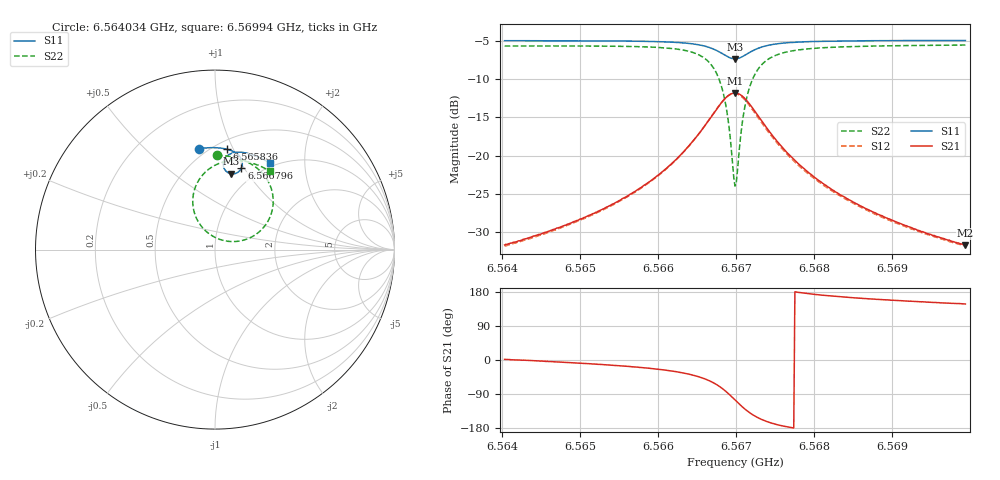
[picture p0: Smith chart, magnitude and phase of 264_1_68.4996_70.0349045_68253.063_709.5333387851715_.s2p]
#  HZ  S  RI  R  50.00
! Rohde & Schwarz Vector Network Analyzer
! Rohde-Schwarz,ZNB20-2Port,1311601062101988,3.16
! Created: UTC 3/20/2024, 5:00:22 PM
! freq[Hz]  re:S11  im:S11  re:S21  im:S21  re:S12  im:S12  re:S22  im:S22
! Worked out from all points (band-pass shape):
!   401 points, 6.564034 GHz to 6.56994 GHz, reference 50 ohm
!   highest |S21| = -11.77 dB at 6.566987 GHz (marker M1); lowest = -31.8 dB at 6.56994 GHz (marker M2)
!   |S21| within 3 dB of the highest: 6.566692 GHz to 6.567282 GHz (590.8 kHz wide, 0.009 % of centre)
!   lowest |S11| = -7.3 dB at 6.566987 GHz (marker M3), VSWR 2.52, Z = 40.2 + j41.8 ohm
!   |S11| at or under -10 dB: nowhere
!   |S22| runs from -24.0 to -5.5 dB; largest |S21 - S12| = 0.012
!   S11 on the Smith chart (normalised r, x): 6.564034 GHz: 0.45, +0.75; 6.565836 GHz: 0.57, +0.94; 6.566796 GHz: 0.83, +0.97; 6.56994 GHz: 0.94, +1.35
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6.5640345e9  -0.0874 0.5623  0.0258 0.000798  0.0253 0.000353  0.011 0.5247
6.5650237e9  -0.00773 0.568  0.038 -0.00583  0.0375 -0.00638  0.1008 0.5151
6.5658358e9  0.065 0.5597  0.0601 -0.0228  0.0592 -0.0235  0.1965 0.4796
6.566013e9  0.0827 0.5545  0.0683 -0.0314  0.0671 -0.0321  0.2234 0.4623
6.566323e9  0.1166 0.5381  0.0869 -0.0591  0.0854 -0.0601  0.2789 0.4075
6.5665445e9  0.1414 0.5128  0.1002 -0.1026  0.0981 -0.1043  0.3179 0.3234
6.5666922e9  0.1519 0.4827  0.0967 -0.1551  0.0929 -0.1578  0.3195 0.223
6.5667955e9  0.1472 0.4539  0.0711 -0.2046  0.0646 -0.2072  0.2757 0.1299
6.5668841e9  0.1275 0.4306  0.0203 -0.2428  0.0109 -0.2433  0.184 0.0609
6.5669136e9  0.1172 0.4253  -0.00313 -0.2502  -0.0132 -0.2494  0.1419 0.0485
6.5669579e9  0.0997 0.422  -0.0418 -0.2532  -0.0522 -0.2497  0.0734 0.0461
6.5669875e9  0.0877 0.4232  -0.0679 -0.2488  -0.0781 -0.2435  0.0276 0.0565
6.567017e9  0.0759 0.427  -0.0928 -0.2391  -0.1021 -0.2323  -0.0146 0.0761
6.5670761e9  0.0575 0.4417  -0.1331 -0.2082  -0.1396 -0.1989  -0.0801 0.1355
6.5671204e9  0.0494 0.4561  -0.1526 -0.1789  -0.1566 -0.169  -0.1093 0.1886
6.5671794e9  0.0458 0.4758  -0.1649 -0.14  -0.1661 -0.1304  -0.1237 0.2581
6.567268e9  0.0514 0.5007  -0.1634 -0.091  -0.1622 -0.0834  -0.1114 0.3424
6.5675338e9  0.091 0.5358  -0.1213 -0.0192  -0.1186 -0.016  -0.0158 0.4608
6.5679767e9  0.1475 0.5422  -0.0736 0.00787  -0.0718 0.00902  0.0979 0.4961
6.5683606e9  0.1852 0.5356  -0.0528 0.0127  -0.0516 0.0134  0.159 0.4932
6.568966e9  0.2356 0.5184  -0.0356 0.0141  -0.0346 0.0145  0.227 0.4754
6.5699405e9  0.3058 0.4823  -0.0218 0.0137  -0.0214 0.0137  0.3074 0.4353
